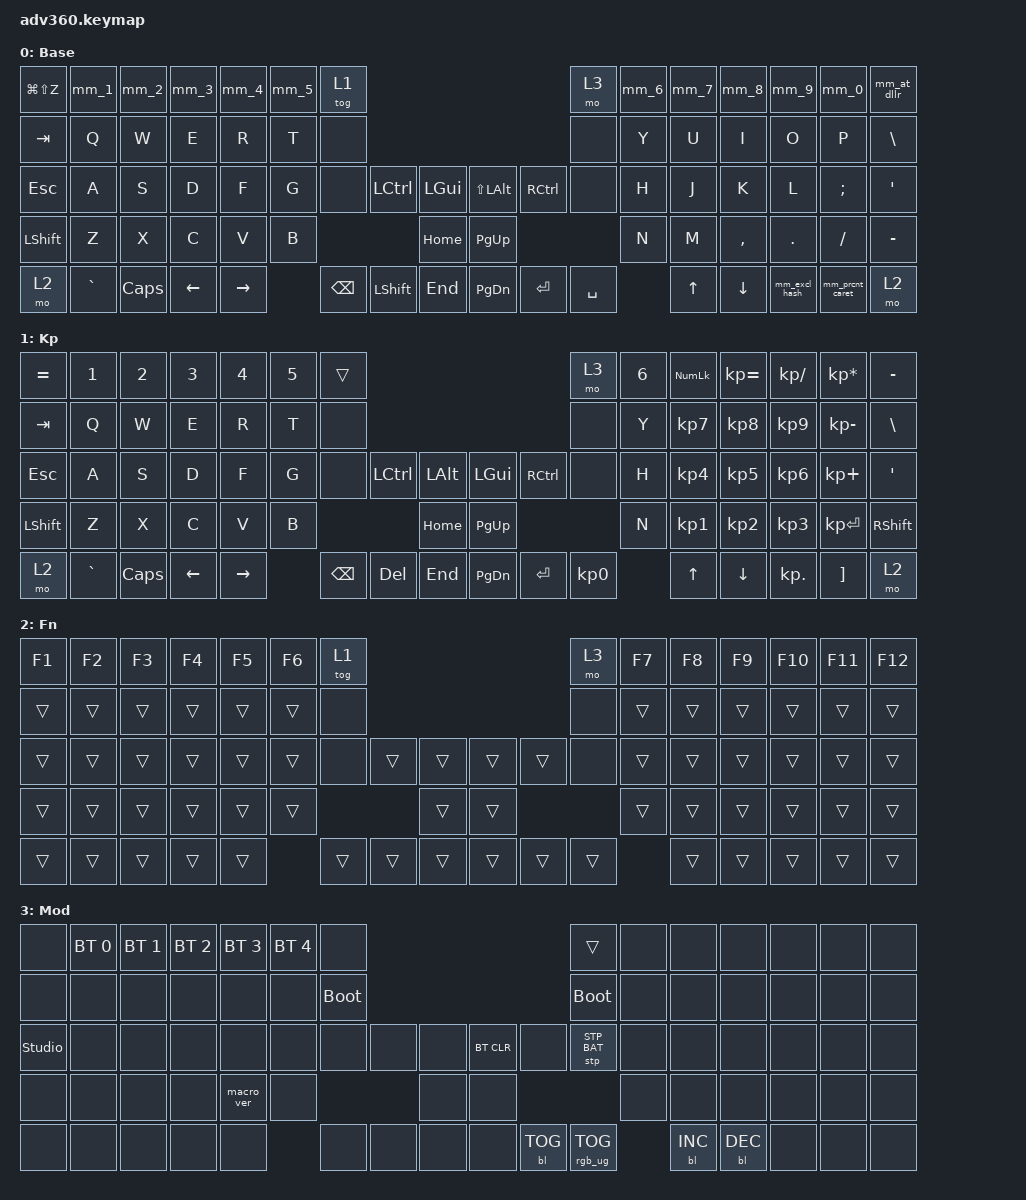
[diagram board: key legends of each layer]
#include <dt-bindings/zmk/stp.h>
#include <behaviors.dtsi>
#include <dt-bindings/zmk/backlight.h>
#include <dt-bindings/zmk/bt.h>
#include <dt-bindings/zmk/keys.h>
#include <dt-bindings/zmk/rgb.h>

/ {
    behaviors {
        #include "macros.dtsi"
      #include "version.dtsi"

        hm: homerow_mods {
            compatible = "zmk,behavior-hold-tap";
            label = "HOMEROW_MODS";
            #binding-cells = <2>;
            tapping-term-ms = <200>;
            quick_tap_ms = <175>;
            flavor = "tap-preferred";
            bindings = <&kp>, <&kp>;
        };

        mm_1: mm_1 {
            compatible = "zmk,behavior-mod-morph";
            label = "MM_1";
            bindings = <&kp N1>, <&kp ASTERISK>;

            #binding-cells = <0>;
            mods = <(MOD_LSFT|MOD_RSFT)>;
        };

        mm_2: mm_2 {
            compatible = "zmk,behavior-mod-morph";
            label = "MM_2";
            bindings = <&kp N2>, <&kp LBKT>;

            #binding-cells = <0>;
            mods = <(MOD_LSFT|MOD_RSFT)>;
        };

        mm_3: mm_3 {
            compatible = "zmk,behavior-mod-morph";
            label = "MM_3";
            bindings = <&kp N3>, <&kp LBRC>;

            #binding-cells = <0>;
            mods = <(MOD_LSFT|MOD_RSFT)>;
        };

        mm_4: mm_4 {
            compatible = "zmk,behavior-mod-morph";
            label = "MM_4";
            bindings = <&kp N4>, <&kp LPAR>;

            #binding-cells = <0>;
            mods = <(MOD_RSFT|MOD_LSFT)>;
        };

        mm_5: mm_5 {
            compatible = "zmk,behavior-mod-morph";
            label = "MM_5";
            bindings = <&kp N5>, <&kp EQUAL>;

            #binding-cells = <0>;
            mods = <(MOD_LSFT|MOD_RSFT)>;
        };

        mm_6: mm_6 {
            compatible = "zmk,behavior-mod-morph";
            label = "MM_6";
            bindings = <&kp N6>, <&kp PLUS>;

            #binding-cells = <0>;
            mods = <(MOD_RSFT|MOD_LSFT)>;
        };

        mm_7: mm_7 {
            compatible = "zmk,behavior-mod-morph";
            label = "MM_7";
            bindings = <&kp N7>, <&kp RPAR>;

            #binding-cells = <0>;
            mods = <(MOD_LSFT|MOD_RSFT)>;
        };

        mm_8: mm_8 {
            compatible = "zmk,behavior-mod-morph";
            label = "MM_8";
            bindings = <&kp N8>, <&kp RBRC>;

            #binding-cells = <0>;
            mods = <(MOD_LSFT|MOD_RSFT)>;
        };

        mm_9: mm_9 {
            compatible = "zmk,behavior-mod-morph";
            label = "MM_9";
            bindings = <&kp N9>, <&kp RBKT>;

            #binding-cells = <0>;
            mods = <(MOD_LSFT|MOD_RSFT)>;
        };

        mm_0: mm_0 {
            compatible = "zmk,behavior-mod-morph";
            label = "MM_0";
            bindings = <&kp N0>, <&kp AMPERSAND>;

            #binding-cells = <0>;
            mods = <(MOD_LSFT|MOD_RSFT)>;
        };

        mm_at_dllr: mm_at_dllr {
            compatible = "zmk,behavior-mod-morph";
            label = "MM_AT_DLLR";
            bindings = <&kp AT_SIGN>, <&kp DLLR>;

            #binding-cells = <0>;
            mods = <(MOD_LSFT|MOD_RSFT)>;
        };

        mm_excl_hash: mm_excl_hash {
            compatible = "zmk,behavior-mod-morph";
            label = "MM_EXCL_HASH";
            bindings = <&kp EXCL>, <&kp HASH>;

            #binding-cells = <0>;
            mods = <(MOD_LSFT|MOD_RSFT)>;
        };

        mm_prcnt_caret: mm_prcnt_caret {
            compatible = "zmk,behavior-mod-morph";
            label = "MM_PRCNT_CARET";
            bindings = <&kp PRCNT>, <&kp CARET>;

            #binding-cells = <0>;
            mods = <(MOD_LSFT|MOD_RSFT)>;
        };
    };

    keymap {
        compatible = "zmk,keymap";

        default_layer {
            display-name = "Base";
            bindings = <
&kp LG(LS(Z))  &mm_1      &mm_2     &mm_3     &mm_4      &mm_5  &tog 1                                                           &mo 3      &mm_6  &mm_7   &mm_8      &mm_9          &mm_0            &mm_at_dllr
&kp TAB        &kp Q      &kp W     &kp E     &kp R      &kp T  &none                                                            &none      &kp Y  &kp U   &kp I      &kp O          &kp P            &kp BSLH
&kp ESC        &kp A      &kp S     &kp D     &kp F      &kp G  &none     &kp LCTRL       &kp LGUI      &kp LS(LALT)  &kp RCTRL  &none      &kp H  &kp J   &kp K      &kp L          &kp SEMI         &kp SQT
&kp LSHFT      &kp Z      &kp X     &kp C     &kp V      &kp B                            &kp HOME      &kp PG_UP                           &kp N  &kp M   &kp COMMA  &kp DOT        &kp FSLH         &kp MINUS
&mo 2          &kp GRAVE  &kp CAPS  &kp LEFT  &kp RIGHT         &kp BSPC  &kp LEFT_SHIFT  &kp END       &kp PG_DN     &kp ENTER  &kp SPACE         &kp UP  &kp DOWN   &mm_excl_hash  &mm_prcnt_caret  &mo 2
            >;
        };

        keypad {
            display-name = "Kp";
            bindings = <
&kp EQUAL  &kp N1     &kp N2    &kp N3    &kp N4     &kp N5  &trans                                                   &mo 3      &kp N6  &kp KP_NUM  &kp KP_EQUAL  &kp KP_DIVIDE  &kp KP_MULTIPLY  &kp MINUS
&kp TAB    &kp Q      &kp W     &kp E     &kp R      &kp T   &none                                                    &none      &kp Y   &kp KP_N7   &kp KP_N8     &kp KP_N9      &kp KP_MINUS     &kp BSLH
&kp ESC    &kp A      &kp S     &kp D     &kp F      &kp G   &none     &kp LCTRL  &kp LALT      &kp LGUI   &kp RCTRL  &none      &kp H   &kp KP_N4   &kp KP_N5     &kp KP_N6      &kp KP_PLUS      &kp SQT
&kp LSHFT  &kp Z      &kp X     &kp C     &kp V      &kp B                        &kp HOME      &kp PG_UP                        &kp N   &kp KP_N1   &kp KP_N2     &kp KP_N3      &kp KP_ENTER     &kp RSHFT
&mo 2      &kp GRAVE  &kp CAPS  &kp LEFT  &kp RIGHT          &kp BSPC  &kp DEL    &kp END       &kp PG_DN  &kp ENTER  &kp KP_N0          &kp UP      &kp DOWN      &kp KP_DOT     &kp RBKT         &mo 2
            >;
        };

        fn {
            display-name = "Fn";
            bindings = <
&kp F1  &kp F2  &kp F3  &kp F4  &kp F5  &kp F6  &tog 1                                      &mo 3   &kp F7  &kp F8  &kp F9  &kp F10  &kp F11  &kp F12
&trans  &trans  &trans  &trans  &trans  &trans  &none                                       &none   &trans  &trans  &trans  &trans   &trans   &trans
&trans  &trans  &trans  &trans  &trans  &trans  &none   &trans  &trans      &trans  &trans  &none   &trans  &trans  &trans  &trans   &trans   &trans
&trans  &trans  &trans  &trans  &trans  &trans                  &trans      &trans                  &trans  &trans  &trans  &trans   &trans   &trans
&trans  &trans  &trans  &trans  &trans          &trans  &trans  &trans      &trans  &trans  &trans          &trans  &trans  &trans   &trans   &trans
            >;
        };

        mod {
            display-name = "Mod";
            bindings = <
&none           &bt BT_SEL 0  &bt BT_SEL 1  &bt BT_SEL 2  &bt BT_SEL 3  &bt BT_SEL 4  &none                                                  &trans           &none  &none       &none       &none  &none  &none
&none           &none         &none         &none         &none         &none         &bootloader                                            &bootloader      &none  &none       &none       &none  &none  &none
&studio_unlock  &none         &none         &none         &none         &none         &none        &none  &none      &bt BT_CLR  &none       &stp STP_BAT     &none  &none       &none       &none  &none  &none
&none           &none         &none         &none         &macro_ver    &none                             &none      &none                                    &none  &none       &none       &none  &none  &none
&none           &none         &none         &none         &none                       &none        &none  &none      &none       &bl BL_TOG  &rgb_ug RGB_TOG         &bl BL_INC  &bl BL_DEC  &none  &none  &none
            >;
        };

        extra1 {
            display-name = "Red";
            status = "reserved";
        };

        extra2 {
            display-name = "Purple";
            status = "reserved";
        };

        extra3 {
            display-name = "Cyan";
            status = "reserved";
        };

        extra4 {
            display-name = "Yellow";
            status = "reserved";
        };
    };
};
